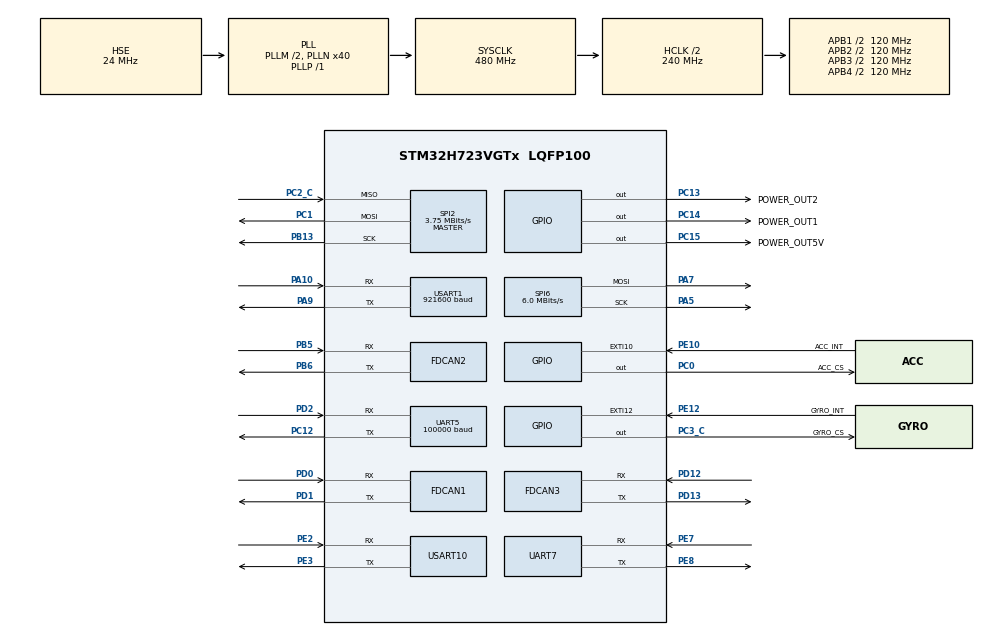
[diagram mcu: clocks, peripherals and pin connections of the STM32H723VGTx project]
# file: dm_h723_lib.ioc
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CORTEX_M7.CPU_ICache=Enabled
CORTEX_M7.default_mode_Activation=0
Dma.Request0=UART5_RX
Dma.Request1=SPI2_RX
Dma.Request2=SPI2_TX
Dma.Request3=UART7_RX
Dma.Request4=UART7_TX
Dma.Request5=USART10_RX
Dma.Request6=USART10_TX
Dma.SPI2_RX.1.Direction=DMA_PERIPH_TO_MEMORY
Dma.SPI2_RX.1.EventEnable=DISABLE
Dma.SPI2_RX.1.FIFOMode=DMA_FIFOMODE_DISABLE
Dma.SPI2_RX.1.Instance=DMA1_Stream0
Dma.SPI2_RX.1.MemDataAlignment=DMA_MDATAALIGN_BYTE
Dma.SPI2_RX.1.MemInc=DMA_MINC_ENABLE
Dma.SPI2_RX.1.Mode=DMA_NORMAL
Dma.SPI2_RX.1.PeriphDataAlignment=DMA_PDATAALIGN_BYTE
Dma.SPI2_RX.1.PeriphInc=DMA_PINC_DISABLE
Dma.SPI2_RX.1.Polarity=HAL_DMAMUX_REQ_GEN_RISING
Dma.SPI2_RX.1.Priority=DMA_PRIORITY_VERY_HIGH
Dma.SPI2_RX.1.RequestNumber=1
Dma.SPI2_RX.1.SignalID=NONE
Dma.SPI2_RX.1.SyncEnable=DISABLE
Dma.SPI2_RX.1.SyncPolarity=HAL_DMAMUX_SYNC_NO_EVENT
Dma.SPI2_RX.1.SyncRequestNumber=1
Dma.SPI2_RX.1.SyncSignalID=NONE
Dma.SPI2_TX.2.Direction=DMA_MEMORY_TO_PERIPH
Dma.SPI2_TX.2.EventEnable=DISABLE
Dma.SPI2_TX.2.FIFOMode=DMA_FIFOMODE_DISABLE
Dma.SPI2_TX.2.Instance=DMA1_Stream1
Dma.SPI2_TX.2.MemDataAlignment=DMA_MDATAALIGN_BYTE
Dma.SPI2_TX.2.MemInc=DMA_MINC_ENABLE
Dma.SPI2_TX.2.Mode=DMA_NORMAL
Dma.SPI2_TX.2.PeriphDataAlignment=DMA_PDATAALIGN_BYTE
Dma.SPI2_TX.2.PeriphInc=DMA_PINC_DISABLE
Dma.SPI2_TX.2.Polarity=HAL_DMAMUX_REQ_GEN_RISING
Dma.SPI2_TX.2.Priority=DMA_PRIORITY_HIGH
Dma.SPI2_TX.2.RequestNumber=1
Dma.SPI2_TX.2.SignalID=NONE
Dma.SPI2_TX.2.SyncEnable=DISABLE
Dma.SPI2_TX.2.SyncPolarity=HAL_DMAMUX_SYNC_NO_EVENT
Dma.SPI2_TX.2.SyncRequestNumber=1
Dma.SPI2_TX.2.SyncSignalID=NONE
Dma.UART5_RX.0.Direction=DMA_PERIPH_TO_MEMORY
Dma.UART5_RX.0.EventEnable=DISABLE
Dma.UART5_RX.0.FIFOMode=DMA_FIFOMODE_DISABLE
Dma.UART5_RX.0.Instance=DMA1_Stream2
Dma.UART5_RX.0.MemDataAlignment=DMA_MDATAALIGN_BYTE
Dma.UART5_RX.0.MemInc=DMA_MINC_ENABLE
Dma.UART5_RX.0.Mode=DMA_NORMAL
Dma.UART5_RX.0.PeriphDataAlignment=DMA_PDATAALIGN_BYTE
Dma.UART5_RX.0.PeriphInc=DMA_PINC_DISABLE
Dma.UART5_RX.0.Polarity=HAL_DMAMUX_REQ_GEN_RISING
Dma.UART5_RX.0.Priority=DMA_PRIORITY_VERY_HIGH
Dma.UART5_RX.0.RequestNumber=1
Dma.UART5_RX.0.SignalID=NONE
Dma.UART5_RX.0.SyncEnable=DISABLE
Dma.UART5_RX.0.SyncPolarity=HAL_DMAMUX_SYNC_NO_EVENT
Dma.UART5_RX.0.SyncRequestNumber=1
Dma.UART5_RX.0.SyncSignalID=NONE
Dma.UART7_RX.3.Direction=DMA_PERIPH_TO_MEMORY
Dma.UART7_RX.3.EventEnable=DISABLE
Dma.UART7_RX.3.FIFOMode=DMA_FIFOMODE_DISABLE
Dma.UART7_RX.3.Instance=DMA1_Stream3
Dma.UART7_RX.3.MemDataAlignment=DMA_MDATAALIGN_BYTE
Dma.UART7_RX.3.MemInc=DMA_MINC_ENABLE
Dma.UART7_RX.3.Mode=DMA_NORMAL
Dma.UART7_RX.3.PeriphDataAlignment=DMA_PDATAALIGN_BYTE
Dma.UART7_RX.3.PeriphInc=DMA_PINC_DISABLE
Dma.UART7_RX.3.Polarity=HAL_DMAMUX_REQ_GEN_RISING
Dma.UART7_RX.3.Priority=DMA_PRIORITY_HIGH
Dma.UART7_RX.3.RequestNumber=1
Dma.UART7_RX.3.SignalID=NONE
Dma.UART7_RX.3.SyncEnable=DISABLE
Dma.UART7_RX.3.SyncPolarity=HAL_DMAMUX_SYNC_NO_EVENT
Dma.UART7_RX.3.SyncRequestNumber=1
Dma.UART7_RX.3.SyncSignalID=NONE
Dma.UART7_TX.4.Direction=DMA_MEMORY_TO_PERIPH
Dma.UART7_TX.4.EventEnable=DISABLE
Dma.UART7_TX.4.FIFOMode=DMA_FIFOMODE_DISABLE
Dma.UART7_TX.4.Instance=DMA1_Stream4
Dma.UART7_TX.4.MemDataAlignment=DMA_MDATAALIGN_BYTE
Dma.UART7_TX.4.MemInc=DMA_MINC_ENABLE
Dma.UART7_TX.4.Mode=DMA_NORMAL
Dma.UART7_TX.4.PeriphDataAlignment=DMA_PDATAALIGN_BYTE
Dma.UART7_TX.4.PeriphInc=DMA_PINC_DISABLE
Dma.UART7_TX.4.Polarity=HAL_DMAMUX_REQ_GEN_RISING
Dma.UART7_TX.4.Priority=DMA_PRIORITY_HIGH
Dma.UART7_TX.4.RequestNumber=1
Dma.UART7_TX.4.SignalID=NONE
Dma.UART7_TX.4.SyncEnable=DISABLE
Dma.UART7_TX.4.SyncPolarity=HAL_DMAMUX_SYNC_NO_EVENT
Dma.UART7_TX.4.SyncRequestNumber=1
Dma.UART7_TX.4.SyncSignalID=NONE
Dma.USART10_RX.5.Direction=DMA_PERIPH_TO_MEMORY
Dma.USART10_RX.5.EventEnable=DISABLE
Dma.USART10_RX.5.FIFOMode=DMA_FIFOMODE_DISABLE
Dma.USART10_RX.5.Instance=DMA1_Stream5
Dma.USART10_RX.5.MemDataAlignment=DMA_MDATAALIGN_BYTE
Dma.USART10_RX.5.MemInc=DMA_MINC_ENABLE
Dma.USART10_RX.5.Mode=DMA_NORMAL
Dma.USART10_RX.5.PeriphDataAlignment=DMA_PDATAALIGN_BYTE
Dma.USART10_RX.5.PeriphInc=DMA_PINC_DISABLE
Dma.USART10_RX.5.Polarity=HAL_DMAMUX_REQ_GEN_RISING
Dma.USART10_RX.5.Priority=DMA_PRIORITY_HIGH
Dma.USART10_RX.5.RequestNumber=1
Dma.USART10_RX.5.SignalID=NONE
Dma.USART10_RX.5.SyncEnable=DISABLE
Dma.USART10_RX.5.SyncPolarity=HAL_DMAMUX_SYNC_NO_EVENT
Dma.USART10_RX.5.SyncRequestNumber=1
Dma.USART10_RX.5.SyncSignalID=NONE
Dma.USART10_TX.6.Direction=DMA_MEMORY_TO_PERIPH
Dma.USART10_TX.6.EventEnable=DISABLE
Dma.USART10_TX.6.FIFOMode=DMA_FIFOMODE_DISABLE
Dma.USART10_TX.6.Instance=DMA1_Stream6
Dma.USART10_TX.6.MemDataAlignment=DMA_MDATAALIGN_BYTE
Dma.USART10_TX.6.MemInc=DMA_MINC_ENABLE
Dma.USART10_TX.6.Mode=DMA_NORMAL
Dma.USART10_TX.6.PeriphDataAlignment=DMA_PDATAALIGN_BYTE
Dma.USART10_TX.6.PeriphInc=DMA_PINC_DISABLE
Dma.USART10_TX.6.Polarity=HAL_DMAMUX_REQ_GEN_RISING
Dma.USART10_TX.6.Priority=DMA_PRIORITY_HIGH
Dma.USART10_TX.6.RequestNumber=1
Dma.USART10_TX.6.SignalID=NONE
Dma.USART10_TX.6.SyncEnable=DISABLE
Dma.USART10_TX.6.SyncPolarity=HAL_DMAMUX_SYNC_NO_EVENT
Dma.USART10_TX.6.SyncRequestNumber=1
Dma.USART10_TX.6.SyncSignalID=NONE
FDCAN1.CalculateBaudRateNominal=1000000
FDCAN1.CalculateTimeBitNominal=1000
FDCAN1.CalculateTimeQuantumNominal=25.0
FDCAN1.DataPrescaler=3
FDCAN1.DataSyncJumpWidth=10
FDCAN1.DataTimeSeg1=29
FDCAN1.DataTimeSeg2=10
FDCAN1.NominalPrescaler=3
FDCAN1.NominalSyncJumpWidth=10
FDCAN1.NominalTimeSeg1=29
FDCAN1.NominalTimeSeg2=10
FDCAN1.RxFifo0ElmtsNbr=32
FDCAN1.StdFiltersNbr=1
FDCAN1.TxFifoQueueElmtsNbr=32
FDCAN2.CalculateBaudRateNominal=1000000
FDCAN2.CalculateTimeBitNominal=1000
FDCAN2.CalculateTimeQuantumNominal=25.0
FDCAN2.DataPrescaler=3
FDCAN2.DataSyncJumpWidth=10
FDCAN2.DataTimeSeg1=29
FDCAN2.DataTimeSeg2=10
FDCAN2.MessageRAMOffset=852
FDCAN2.NominalPrescaler=3
FDCAN2.NominalSyncJumpWidth=10
FDCAN2.NominalTimeSeg1=29
FDCAN2.NominalTimeSeg2=10
FDCAN2.RxFifo0ElmtsNbr=32
FDCAN2.StdFiltersNbr=1
FDCAN2.TxFifoQueueElmtsNbr=32
FDCAN3.CalculateBaudRateNominal=1000000
FDCAN3.CalculateTimeBitNominal=1000
FDCAN3.CalculateTimeQuantumNominal=25.0
FDCAN3.DataPrescaler=3
FDCAN3.DataSyncJumpWidth=10
FDCAN3.DataTimeSeg1=29
FDCAN3.DataTimeSeg2=10
FDCAN3.MessageRAMOffset=1704
FDCAN3.NominalPrescaler=3
FDCAN3.NominalSyncJumpWidth=10
FDCAN3.NominalTimeSeg1=29
FDCAN3.NominalTimeSeg2=10
FDCAN3.RxFifo0ElmtsNbr=32
FDCAN3.StdFiltersNbr=1
FDCAN3.TxFifoQueueElmtsNbr=32
FREERTOS.Tasks01=defaultTask,0,128,StartDefaultTask,Default,NULL,Dynamic,NULL,NULL;debug_uart,-3,1024,DEBUG_UART_TASK,As weak,NULL,Dynamic,NULL,NULL;led,-3,128,LED_TASK,As weak,NULL,Dynamic,NULL,NULL;get_rc,-3,256,GET_RC_TASK,As weak,NULL,Dynamic,NULL,NULL;imu_data,-3,1024,IMU_DATA_GET,As weak,NULL,Dynamic,NULL,NULL;can_sent,-3,256,CAN_SENT_TASK,As weak,NULL,Dynamic,NULL,NULL;shoot_task,-3,128,SHOOT_TASK,As weak,NULL,Dynamic,NULL,NULL;stop_check,-3,128,SHOOOT_STOP_CHECK,As weak,NULL,Dynamic,NULL,NULL;chassis,-3,512,CHASSIS_TASK,As weak,NULL,Dynamic,NULL,NULL;gimbal,-3,512,GIMBAL_TASK,As weak,NULL,Dynamic,NULL,NULL;auto_aim,-3,512,AUTO_AIM_TASK,As weak,NULL,Dynamic,NULL,NULL;error_det,-3,512,ERROR_DETECTION,As weak,NULL,Dynamic,NULL,NULL;nav_pose_set,-3,512,NAV_POSE_SET_TASK,As weak,NULL,Dynamic,NULL,NULL;vround_state,-3,256,VROUND_CHECK_TASK,As weak,NULL,Dynamic,NULL,NULL
FREERTOS.configTOTAL_HEAP_SIZE=30000
FREERTOS.configUSE_NEWLIB_REENTRANT=1
Mcu.Family=STM32H7
Mcu.Name=STM32H723VGTx
Mcu.Package=LQFP100
NVIC.DMA1_Stream0_IRQn=true\:5\:0\:false\:false\:true\:true\:false\:true\:true
NVIC.DMA1_Stream1_IRQn=true\:5\:0\:false\:false\:true\:true\:false\:true\:true
NVIC.DMA1_Stream2_IRQn=true\:5\:0\:false\:false\:true\:true\:false\:true\:true
NVIC.DMA1_Stream3_IRQn=true\:5\:0\:false\:false\:true\:true\:false\:true\:true
NVIC.DMA1_Stream4_IRQn=true\:5\:0\:false\:false\:true\:true\:false\:true\:true
NVIC.DMA1_Stream5_IRQn=true\:5\:0\:false\:false\:true\:true\:false\:true\:true
NVIC.DMA1_Stream6_IRQn=true\:5\:0\:false\:false\:true\:true\:false\:true\:true
NVIC.FDCAN1_IT0_IRQn=true\:5\:0\:false\:false\:true\:true\:true\:true\:true
NVIC.FDCAN2_IT0_IRQn=true\:5\:0\:false\:false\:true\:true\:true\:true\:true
NVIC.FDCAN3_IT0_IRQn=true\:5\:0\:false\:false\:true\:true\:true\:true\:true
NVIC.PriorityGroup=NVIC_PRIORITYGROUP_4
NVIC.SPI2_IRQn=true\:5\:0\:false\:false\:true\:true\:true\:true\:true
NVIC.TIM7_IRQn=true\:15\:0\:false\:false\:true\:false\:false\:true\:true
NVIC.TimeBase=TIM7_IRQn
NVIC.TimeBaseIP=TIM7
NVIC.UART5_IRQn=true\:5\:0\:false\:false\:true\:true\:true\:true\:true
NVIC.UART7_IRQn=true\:5\:0\:false\:false\:true\:true\:true\:true\:true
NVIC.USART10_IRQn=true\:5\:0\:false\:false\:true\:true\:true\:true\:true
PA10.Mode=Asynchronous
PA10.Signal=USART1_RX
PA13(JTMS/SWDIO).Mode=Serial_Wire
PA13(JTMS/SWDIO).Signal=DEBUG_JTMS-SWDIO
PA14(JTCK/SWCLK).Mode=Serial_Wire
PA14(JTCK/SWCLK).Signal=DEBUG_JTCK-SWCLK
PA5.Mode=TX_Only_Simplex_Unidirect_Master
PA5.Signal=SPI6_SCK
PA7.Mode=TX_Only_Simplex_Unidirect_Master
PA7.Signal=SPI6_MOSI
PA9.Mode=Asynchronous
PA9.Signal=USART1_TX
PB13.Mode=Full_Duplex_Master
PB13.Signal=SPI2_SCK
PB5.Mode=FDCAN_Activate
PB5.Signal=FDCAN2_RX
PB6.Mode=FDCAN_Activate
PB6.Signal=FDCAN2_TX
PC0.GPIO_Label=ACC_CS
PC0.GPIO_Speed=GPIO_SPEED_FREQ_VERY_HIGH
PC0.PinState=GPIO_PIN_SET
PC0.Signal=GPIO_Output
PC1.Mode=Full_Duplex_Master
PC1.Signal=SPI2_MOSI
PC12.Mode=Asynchronous
PC12.Signal=UART5_TX
PC13.GPIO_Label=POWER_OUT2
PC13.PinState=GPIO_PIN_SET
PC13.Signal=GPIO_Output
PC14-OSC32_IN.GPIO_Label=POWER_OUT1
PC14-OSC32_IN.PinState=GPIO_PIN_SET
PC14-OSC32_IN.Signal=GPIO_Output
PC15-OSC32_OUT.GPIO_Label=POWER_OUT5V
PC15-OSC32_OUT.PinState=GPIO_PIN_SET
PC15-OSC32_OUT.Signal=GPIO_Output
PC2_C.Mode=Full_Duplex_Master
PC2_C.Signal=SPI2_MISO
PC3_C.GPIO_Label=GYRO_CS
PC3_C.GPIO_Speed=GPIO_SPEED_FREQ_VERY_HIGH
PC3_C.PinState=GPIO_PIN_SET
PC3_C.Signal=GPIO_Output
PD0.Mode=FDCAN_Activate
PD0.Signal=FDCAN1_RX
PD1.Mode=FDCAN_Activate
PD1.Signal=FDCAN1_TX
PD12.Mode=FDCAN_Activate
PD12.Signal=FDCAN3_RX
PD13.Mode=FDCAN_Activate
PD13.Signal=FDCAN3_TX
PD2.Mode=Asynchronous
PD2.Signal=UART5_RX
PE10.GPIO_Label=ACC_INT
PE10.Signal=GPXTI10
PE12.GPIO_Label=GYRO_INT
PE12.Signal=GPXTI12
PE2.Mode=Asynchronous
PE2.Signal=USART10_RX
PE3.Mode=Asynchronous
PE3.Signal=USART10_TX
PE7.Mode=Asynchronous
PE7.Signal=UART7_RX
PE8.Mode=Asynchronous
PE8.Signal=UART7_TX
PH0-OSC_IN.Mode=HSE-External-Oscillator
PH0-OSC_IN.Signal=RCC_OSC_IN
PH1-OSC_OUT.Mode=HSE-External-Oscillator
PH1-OSC_OUT.Signal=RCC_OSC_OUT
ProjectManager.HeapSize=0x200
ProjectManager.StackSize=0x400
ProjectManager.TargetToolchain=STM32CubeIDE
RCC.ADCFreq_Value=96000000
RCC.APB1Freq_Value=120000000
RCC.APB2Freq_Value=120000000
RCC.APB3Freq_Value=120000000
RCC.APB4Freq_Value=120000000
RCC.CortexFreq_Value=480000000
RCC.D1PPRE=RCC_APB3_DIV2
RCC.D2PPRE1=RCC_APB1_DIV2
RCC.D2PPRE2=RCC_APB2_DIV2
RCC.D3PPRE=RCC_APB4_DIV2
RCC.DIVM1=2
RCC.DIVM2=2
RCC.DIVN1=40
RCC.DIVN2=16
RCC.DIVP1=1
RCC.DIVQ1=4
RCC.HCLKFreq_Value=240000000
RCC.HPRE=RCC_HCLK_DIV2
RCC.HSE_VALUE=24000000
RCC.PLL2FRACN=0
RCC.PLL3FRACN=0
RCC.PLLFRACN=0
RCC.PLLSourceVirtual=RCC_PLLSOURCE_HSE
RCC.SPI6CLockSelection=RCC_SPI6CLKSOURCE_HSE
RCC.SYSCLKFreq_VALUE=480000000
RCC.SYSCLKSource=RCC_SYSCLKSOURCE_PLLCLK
RCC.USBFreq_Value=120000000
SPI2.BaudRatePrescaler=SPI_BAUDRATEPRESCALER_32
SPI2.CLKPhase=SPI_PHASE_2EDGE
SPI2.CLKPolarity=SPI_POLARITY_HIGH
SPI2.CalculateBaudRate=3.75 MBits/s
SPI2.DataSize=SPI_DATASIZE_8BIT
SPI2.Direction=SPI_DIRECTION_2LINES
SPI2.Mode=SPI_MODE_MASTER
SPI2.VirtualType=VM_MASTER
SPI6.BaudRatePrescaler=SPI_BAUDRATEPRESCALER_4
SPI6.CLKPhase=SPI_PHASE_2EDGE
SPI6.CalculateBaudRate=6.0 MBits/s
SPI6.DataSize=SPI_DATASIZE_8BIT
SPI6.Direction=SPI_DIRECTION_2LINES_TXONLY
SPI6.Mode=SPI_MODE_MASTER
SPI6.VirtualType=VM_MASTER
UART5.BaudRate=100000
UART5.Mode=MODE_TX_RX
UART5.Parity=PARITY_EVEN
UART5.StopBits=UART_STOPBITS_2
UART5.WordLength=WORDLENGTH_9B
USART1.BaudRate=921600
USART1.VirtualMode-Asynchronous=VM_ASYNC
USART10.VirtualMode=VM_ASYNC
VP_FREERTOS_VS_CMSIS_V1.Mode=CMSIS_V1
VP_MEMORYMAP_VS_MEMORYMAP.Mode=CurAppReg
VP_SYS_VS_tim7.Mode=TIM7
board=custom

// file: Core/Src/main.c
/* USER CODE BEGIN Header */
/**
  ******************************************************************************
  * @file           : main.c
  * @brief          : Main program body
  ******************************************************************************
  * @attention
  *
  * Copyright (c) 2026 STMicroelectronics.
  * All rights reserved.
  *
  * This software is licensed under terms that can be found in the LICENSE file
  * in the root directory of this software component.
  * If no LICENSE file comes with this software, it is provided AS-IS.
  *
  ******************************************************************************
  */
/* USER CODE END Header */
#include "main.h"
#include "cmsis_os.h"
#include "dma.h"
#include "fdcan.h"
#include "memorymap.h"
#include "spi.h"
#include "usart.h"
#include "gpio.h"

/* USER CODE BEGIN Includes */
#include "ws2812.h"
#include "uart_printf.h"
#include "remote_control.h"
#include "BMI088driver.h"
#include "bsp_can.h"
#include "dm_motor.h"
#include "SHOOT_TASK.h"
#include "NAV_TASK.h"
/* USER CODE END Includes */

/* USER CODE BEGIN PV */
float gyro[3], accel[3], temp;
float INS_quat[4] = {1.0f, 0.0f, 0.0f, 0.0f};
float INS_angle[3] = {0.0f, 0.0f, 0.0f};
float INS_degree[3] = {0.0f, 0.0f, 0.0f};

//shoot

int16_t SHOOT_TURN_ON_SPEED = SHOOT_MIN_SPEED;

float SHOOT_2006_ID6_GIVEN_SPEED = SHOOT_MIN_SPEED;
int16_t SHOOT_2006_ID6_GIVEN_CURRENT ;

float CHASSIS_3508_ID1_GIVEN_SPEED ;
int16_t CHASSIS_3508_ID1_GIVEN_CURRENT ;

float CHASSIS_3508_ID2_GIVEN_SPEED ;
int16_t CHASSIS_3508_ID2_GIVEN_CURRENT ;

float CHASSIS_3508_ID3_GIVEN_SPEED ;
int16_t CHASSIS_3508_ID3_GIVEN_CURRENT ;

float CHASSIS_3508_ID4_GIVEN_SPEED ;
int16_t CHASSIS_3508_ID4_GIVEN_CURRENT ;

float CHASSIS_3508_ID5_GIVEN_SPEED ;
int16_t CHASSIS_3508_ID5_GIVEN_CURRENT ;

float CHASSIS_3508_ID6_GIVEN_SPEED ;
int16_t CHASSIS_3508_ID6_GIVEN_CURRENT ;

float gimbal_vx ;
float gimbal_vy ;

float chassis_vx ;
float chassis_vy ;
float chassis_vround ;

float yaw_angle_difference ;
float yaw_radian_difference ;

float FRICTION_WHEEL_3510_ID1_GIVEN_SPEED ;
float FRICTION_WHEEL_3510_ID2_GIVEN_SPEED ;

int16_t FRICTION_WHEEL_3510_ID1_GIVEN_CURRENT ;
int16_t FRICTION_WHEEL_3510_ID2_GIVEN_CURRENT ;

float YAW_6020_ID1_GIVEN_SPEED ;
int16_t YAW_6020_ID1_GIVEN_CURRENT ;
float YAW_6020_ID1_GIVEN_ANGLE ;

float PITCH_6020_ID2_GIVEN_ANGLE ;
float PITCH_6020_ID2_GIVEN_SPEED ;
int16_t PITCH_6020_ID2_GIVEN_CURRENT ;

float yaw_imu_preprocess ;//yaw轴imu预处理

uint8_t uart7_receive_data ;//串口当前接收字节

uint32_t odom_rx_time ;

int16_t vround_always_speed = 0;

/* USER CODE END PV */

void SystemClock_Config(void);
void MX_FREERTOS_Init(void);

int main(void)
{

  /* Enable the CPU Cache */

  /* Enable I-Cache---------------------------------------------------------*/
  SCB_EnableICache();

  /* MCU Configuration--------------------------------------------------------*/

  /* Reset of all peripherals, Initializes the Flash interface and the Systick. */
  HAL_Init();

  /* Configure the system clock */
  SystemClock_Config();

  /* Initialize all configured peripherals */
  MX_GPIO_Init();
  MX_DMA_Init();
  MX_SPI6_Init();
  MX_USART1_UART_Init();
  MX_UART5_Init();
  MX_SPI2_Init();
  MX_FDCAN1_Init();
  MX_FDCAN2_Init();
  MX_FDCAN3_Init();
  MX_UART7_Init();
  MX_USART10_UART_Init();
  /* USER CODE BEGIN 2 */

    while(BMI088_init());

    //about remote control
#if REMOTE_TYPE == SBUS
    HAL_UARTEx_ReceiveToIdle_DMA(&huart5, rx_subs_buff, SBUS_BUFF_SIZE * 2);
#endif

#if REMOTE_TYPE == DBUS
    HAL_UARTEx_ReceiveToIdle_DMA(&huart5, rx_dbus_buff, DBUS_BUFF_SIZE);
#endif

    HAL_UART_Receive_DMA(&huart7, &uart7_receive_data, 1);

//    HAL_UART_Receive_DMA(&huart10, &nav_uart_rx_data, 1);//继续进行中断接收
    HAL_UARTEx_ReceiveToIdle_DMA(&huart10, uart_rx_buf, sizeof(uart_rx_buf));

    dm_motor_init();

    BSP_FDCAN_Init();

    //拨弹盘电机初始化
    shoot_2006_id1_speed_pid_init();//拨弹盘id1速度环初始化

  /* USER CODE END 2 */

  /* Call init function for freertos objects (in cmsis_os2.c) */
  MX_FREERTOS_Init();

  /* Start scheduler */
  osKernelStart();

  /* We should never get here as control is now taken by the scheduler */

  /* Infinite loop */
  while (1)
  {

  }
}

void SystemClock_Config(void)
{
  RCC_OscInitTypeDef RCC_OscInitStruct = {0};
  RCC_ClkInitTypeDef RCC_ClkInitStruct = {0};

  /** Supply configuration update enable
  */
  HAL_PWREx_ConfigSupply(PWR_LDO_SUPPLY);

  /** Configure the main internal regulator output voltage
  */
  __HAL_PWR_VOLTAGESCALING_CONFIG(PWR_REGULATOR_VOLTAGE_SCALE0);

  while(!__HAL_PWR_GET_FLAG(PWR_FLAG_VOSRDY)) {}

  /** Initializes the RCC Oscillators according to the specified parameters
  * in the RCC_OscInitTypeDef structure.
  */
  RCC_OscInitStruct.OscillatorType = RCC_OSCILLATORTYPE_HSE;
  RCC_OscInitStruct.HSEState = RCC_HSE_ON;
  RCC_OscInitStruct.PLL.PLLState = RCC_PLL_ON;
  RCC_OscInitStruct.PLL.PLLSource = RCC_PLLSOURCE_HSE;
  RCC_OscInitStruct.PLL.PLLM = 2;
  RCC_OscInitStruct.PLL.PLLN = 40;
  RCC_OscInitStruct.PLL.PLLP = 1;
  RCC_OscInitStruct.PLL.PLLQ = 4;
  RCC_OscInitStruct.PLL.PLLR = 2;
  RCC_OscInitStruct.PLL.PLLRGE = RCC_PLL1VCIRANGE_3;
  RCC_OscInitStruct.PLL.PLLVCOSEL = RCC_PLL1VCOWIDE;
  RCC_OscInitStruct.PLL.PLLFRACN = 0;
  if (HAL_RCC_OscConfig(&RCC_OscInitStruct) != HAL_OK)
  {
    Error_Handler();
  }

  /** Initializes the CPU, AHB and APB buses clocks
  */
  RCC_ClkInitStruct.ClockType = RCC_CLOCKTYPE_HCLK|RCC_CLOCKTYPE_SYSCLK
                              |RCC_CLOCKTYPE_PCLK1|RCC_CLOCKTYPE_PCLK2
                              |RCC_CLOCKTYPE_D3PCLK1|RCC_CLOCKTYPE_D1PCLK1;
  RCC_ClkInitStruct.SYSCLKSource = RCC_SYSCLKSOURCE_PLLCLK;
  RCC_ClkInitStruct.SYSCLKDivider = RCC_SYSCLK_DIV1;
  RCC_ClkInitStruct.AHBCLKDivider = RCC_HCLK_DIV2;
  RCC_ClkInitStruct.APB3CLKDivider = RCC_APB3_DIV2;
  RCC_ClkInitStruct.APB1CLKDivider = RCC_APB1_DIV2;
  RCC_ClkInitStruct.APB2CLKDivider = RCC_APB2_DIV2;
  RCC_ClkInitStruct.APB4CLKDivider = RCC_APB4_DIV2;

  if (HAL_RCC_ClockConfig(&RCC_ClkInitStruct, FLASH_LATENCY_3) != HAL_OK)
  {
    Error_Handler();
  }
}

void HAL_TIM_PeriodElapsedCallback(TIM_HandleTypeDef *htim)
{
  if (htim->Instance == TIM7) {
    HAL_IncTick();
  }
}

void Error_Handler(void)
{
  __disable_irq();
  while (1)
  {
  }
}

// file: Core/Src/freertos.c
/* USER CODE BEGIN Header */
/**
  ******************************************************************************
  * File Name          : freertos.c
  * Description        : Code for freertos applications
  ******************************************************************************
  * @attention
  *
  * Copyright (c) 2026 STMicroelectronics.
  * All rights reserved.
  *
  * This software is licensed under terms that can be found in the LICENSE file
  * in the root directory of this software component.
  * If no LICENSE file comes with this software, it is provided AS-IS.
  *
  ******************************************************************************
  */
/* USER CODE END Header */

#include "FreeRTOS.h"
#include "task.h"
#include "main.h"
#include "cmsis_os.h"

osThreadId defaultTaskHandle;
osThreadId debug_uartHandle;
osThreadId ledHandle;
osThreadId get_rcHandle;
osThreadId imu_dataHandle;
osThreadId can_sentHandle;
osThreadId shoot_taskHandle;
osThreadId stop_checkHandle;
osThreadId chassisHandle;
osThreadId gimbalHandle;
osThreadId auto_aimHandle;
osThreadId error_detHandle;
osThreadId nav_pose_setHandle;
osThreadId vround_stateHandle;

void StartDefaultTask(void const * argument);
void DEBUG_UART_TASK(void const * argument);
void LED_TASK(void const * argument);
void GET_RC_TASK(void const * argument);
void IMU_DATA_GET(void const * argument);
void CAN_SENT_TASK(void const * argument);
void SHOOT_TASK(void const * argument);
void SHOOOT_STOP_CHECK(void const * argument);
void CHASSIS_TASK(void const * argument);
void GIMBAL_TASK(void const * argument);
void AUTO_AIM_TASK(void const * argument);
void ERROR_DETECTION(void const * argument);
void NAV_POSE_SET_TASK(void const * argument);
void VROUND_CHECK_TASK(void const * argument);

void MX_FREERTOS_Init(void); /* (MISRA C 2004 rule 8.1) */

/* GetIdleTaskMemory prototype (linked to static allocation support) */
void vApplicationGetIdleTaskMemory( StaticTask_t **ppxIdleTaskTCBBuffer, StackType_t **ppxIdleTaskStackBuffer, uint32_t *pulIdleTaskStackSize );

/* USER CODE BEGIN GET_IDLE_TASK_MEMORY */
static StaticTask_t xIdleTaskTCBBuffer;
static StackType_t xIdleStack[configMINIMAL_STACK_SIZE];

void vApplicationGetIdleTaskMemory( StaticTask_t **ppxIdleTaskTCBBuffer, StackType_t **ppxIdleTaskStackBuffer, uint32_t *pulIdleTaskStackSize )
{
  *ppxIdleTaskTCBBuffer = &xIdleTaskTCBBuffer;
  *ppxIdleTaskStackBuffer = &xIdleStack[0];
  *pulIdleTaskStackSize = configMINIMAL_STACK_SIZE;
  /* place for user code */
}
/* USER CODE END GET_IDLE_TASK_MEMORY */

void MX_FREERTOS_Init(void) {

  /* Create the thread(s) */
  /* definition and creation of defaultTask */
  osThreadDef(defaultTask, StartDefaultTask, osPriorityNormal, 0, 128);
  defaultTaskHandle = osThreadCreate(osThread(defaultTask), NULL);

  /* definition and creation of debug_uart */
  osThreadDef(debug_uart, DEBUG_UART_TASK, osPriorityIdle, 0, 1024);
  debug_uartHandle = osThreadCreate(osThread(debug_uart), NULL);

  /* definition and creation of led */
  osThreadDef(led, LED_TASK, osPriorityIdle, 0, 128);
  ledHandle = osThreadCreate(osThread(led), NULL);

  /* definition and creation of get_rc */
  osThreadDef(get_rc, GET_RC_TASK, osPriorityIdle, 0, 256);
  get_rcHandle = osThreadCreate(osThread(get_rc), NULL);

  /* definition and creation of imu_data */
  osThreadDef(imu_data, IMU_DATA_GET, osPriorityIdle, 0, 1024);
  imu_dataHandle = osThreadCreate(osThread(imu_data), NULL);

  /* definition and creation of can_sent */
  osThreadDef(can_sent, CAN_SENT_TASK, osPriorityIdle, 0, 256);
  can_sentHandle = osThreadCreate(osThread(can_sent), NULL);

  /* definition and creation of shoot_task */
  osThreadDef(shoot_task, SHOOT_TASK, osPriorityIdle, 0, 128);
  shoot_taskHandle = osThreadCreate(osThread(shoot_task), NULL);

  /* definition and creation of stop_check */
  osThreadDef(stop_check, SHOOOT_STOP_CHECK, osPriorityIdle, 0, 128);
  stop_checkHandle = osThreadCreate(osThread(stop_check), NULL);

  /* definition and creation of chassis */
  osThreadDef(chassis, CHASSIS_TASK, osPriorityIdle, 0, 512);
  chassisHandle = osThreadCreate(osThread(chassis), NULL);

  /* definition and creation of gimbal */
  osThreadDef(gimbal, GIMBAL_TASK, osPriorityIdle, 0, 512);
  gimbalHandle = osThreadCreate(osThread(gimbal), NULL);

  /* definition and creation of auto_aim */
  osThreadDef(auto_aim, AUTO_AIM_TASK, osPriorityIdle, 0, 512);
  auto_aimHandle = osThreadCreate(osThread(auto_aim), NULL);

  /* definition and creation of error_det */
  osThreadDef(error_det, ERROR_DETECTION, osPriorityIdle, 0, 512);
  error_detHandle = osThreadCreate(osThread(error_det), NULL);

  /* definition and creation of nav_pose_set */
  osThreadDef(nav_pose_set, NAV_POSE_SET_TASK, osPriorityIdle, 0, 512);
  nav_pose_setHandle = osThreadCreate(osThread(nav_pose_set), NULL);

  /* definition and creation of vround_state */
  osThreadDef(vround_state, VROUND_CHECK_TASK, osPriorityIdle, 0, 256);
  vround_stateHandle = osThreadCreate(osThread(vround_state), NULL);

}

void StartDefaultTask(void const * argument)
{
  for(;;)
  {
    osDelay(1);
  }
}

__weak void DEBUG_UART_TASK(void const * argument)
{
  for(;;)
  {
    osDelay(1);
  }
}

__weak void LED_TASK(void const * argument)
{
  for(;;)
  {
    osDelay(1);
  }
}

__weak void GET_RC_TASK(void const * argument)
{
  for(;;)
  {
    osDelay(1);
  }
}

__weak void IMU_DATA_GET(void const * argument)
{
  for(;;)
  {
    osDelay(1);
  }
}

__weak void CAN_SENT_TASK(void const * argument)
{
  for(;;)
  {
    osDelay(1);
  }
}

__weak void SHOOT_TASK(void const * argument)
{
  for(;;)
  {
    osDelay(1);
  }
}

__weak void SHOOOT_STOP_CHECK(void const * argument)
{
  for(;;)
  {
    osDelay(1);
  }
}

__weak void CHASSIS_TASK(void const * argument)
{
  for(;;)
  {
    osDelay(1);
  }
}

__weak void GIMBAL_TASK(void const * argument)
{
  for(;;)
  {
    osDelay(1);
  }
}

__weak void AUTO_AIM_TASK(void const * argument)
{
  for(;;)
  {
    osDelay(1);
  }
}

__weak void ERROR_DETECTION(void const * argument)
{
  for(;;)
  {
    osDelay(1);
  }
}

__weak void NAV_POSE_SET_TASK(void const * argument)
{
  for(;;)
  {
    osDelay(1);
  }
}

__weak void VROUND_CHECK_TASK(void const * argument)
{
  for(;;)
  {
    osDelay(1);
  }
}
